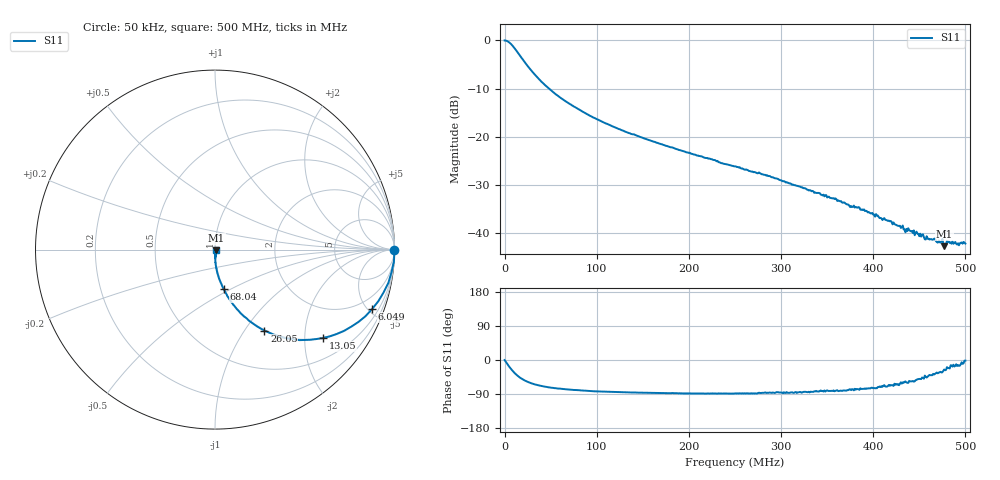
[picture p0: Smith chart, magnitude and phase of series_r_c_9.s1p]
# MHz S MA R 50
!  freq  S11
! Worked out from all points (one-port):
!   501 points, 50 kHz to 500 MHz, reference 50 ohm
!   lowest |S11| = -42.8 dB at 477 MHz (marker M1), VSWR 1.01, Z = 50.7 - j0.312 ohm
!   |S11| at or under -10 dB: 47.97 MHz to end of sweep
!   S11 on the Smith chart (normalised r, x): 50 kHz: open; 6.049 MHz: 0.99, -5.29; 13.05 MHz: 0.99, -2.46; 26.05 MHz: 0.99, -1.24; 68.04 MHz: 0.99, -0.46; 500 MHz: 1.02, -0.00
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0.05  0.9997 -0.2
3.0497  0.9836 -10.9
6.0494  0.936 -20.7
9.0491  0.872 -29.5
13.0487  0.7777 -39.3
19.0481  0.6472 -50.1
26.0474  0.5279 -58.6
32.0468  0.4501 -63.8
41.0459  0.3651 -69.0
63.0437  0.2442 -76.7
68.0432  0.2268 -77.6
94.0406  0.1624 -82.0
125.0375  0.1191 -84.9
188.0312  0.07342 -87.9
250.025  0.04902 -88.3
313.0187  0.03163 -86.5
358.0142  0.02241 -82.4
375.0125  0.01847 -77.4
383.0117  0.01822 -77.0
418.0082  0.01313 -68.0
435.0065  0.01009 -56.5
438.0062  0.01112 -60.4
457.0043  0.00851 -44.1
473.0027  0.00787 -31.2
477.0023  0.00724 -25.2
482.0018  0.00809 -21.3
492.0008  0.00776 -13.5
500  0.0077 -1.6
